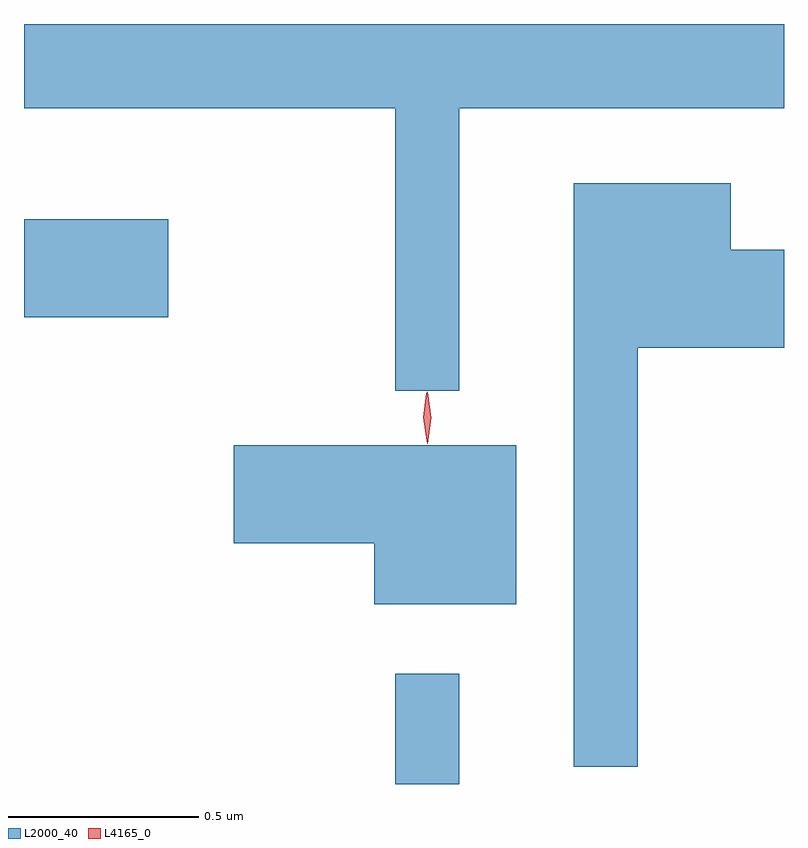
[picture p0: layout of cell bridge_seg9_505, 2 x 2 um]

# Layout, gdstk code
import gdstk
lib = gdstk.Library(unit=1e-6, precision=1e-09)
def R(c, l, rs):  # rectangles x0, y0, x1, y1
    for r in rs: c.add(gdstk.rectangle(r[:2], r[2:], *l))
def P(c, l, *ps):  # polygons
    for p in ps: c.add(gdstk.Polygon(p, *l))
L2000_40 = (2000, 40)
L4165_0 = (4165, 0)

bridge_seg9_505 = lib.new_cell('bridge_seg9_505')
R(bridge_seg9_505, L2000_40, [(469.171,1987.818,469.339,1988.108), (468.194,1989.046,468.574,1989.304)])
P(bridge_seg9_505, L2000_40, [(469.339,1989.596),(470.194,1989.596),(470.194,1989.818),(468.194,1989.818),(468.194,1989.596),(469.171,1989.596),(469.171,1988.853),(469.339,1988.853)],
  [(469.809,1988.966),(470.194,1988.966),(470.194,1989.224),(470.054,1989.224),(470.054,1989.399),(469.641,1989.399),(469.641,1987.863),(469.809,1987.863)],
  [(469.489,1988.709),(468.746,1988.709),(468.746,1988.451),(469.116,1988.451),(469.116,1988.291),(469.489,1988.291)])
P(bridge_seg9_505, L4165_0, [(469.254,1988.72),(469.254,1988.721),(469.244,1988.783),(469.253,1988.846),(469.254,1988.847),(469.254,1988.846),(469.264,1988.783),(469.255,1988.721)],
  [(469.255,1988.714),(469.246,1988.782),(469.255,1988.849),(469.255,1988.85),(469.256,1988.849),(469.266,1988.782),(469.256,1988.714),(469.256,1988.714)])

lib.write_gds('bridge_seg9_505.gds')
